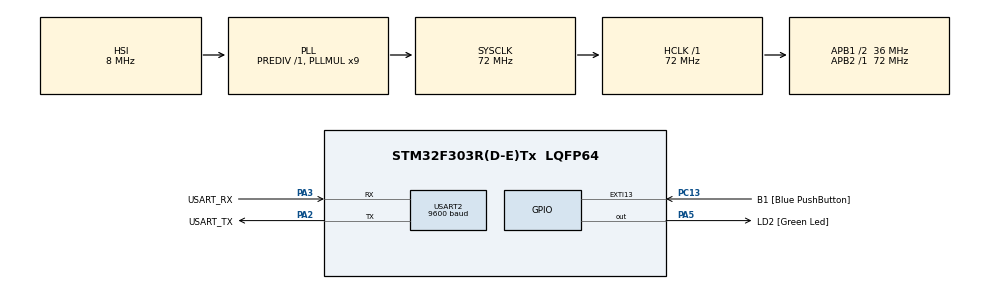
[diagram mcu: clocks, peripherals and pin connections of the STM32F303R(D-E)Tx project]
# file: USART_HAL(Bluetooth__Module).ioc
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Mcu.Family=STM32F3
Mcu.Name=STM32F303R(D-E)Tx
Mcu.Package=LQFP64
NVIC.PriorityGroup=NVIC_PRIORITYGROUP_0
PA13.GPIO_Label=TMS
PA13.Mode=Serial_Wire
PA13.Signal=SYS_JTMS-SWDIO
PA14.GPIO_Label=TCK
PA14.Mode=Serial_Wire
PA14.Signal=SYS_JTCK-SWCLK
PA2.GPIO_Label=USART_TX
PA2.GPIO_Mode=GPIO_MODE_AF_PP
PA2.GPIO_PuPd=GPIO_NOPULL
PA2.GPIO_Speed=GPIO_SPEED_FREQ_LOW
PA2.Mode=Asynchronous
PA2.Signal=USART2_TX
PA3.GPIO_Label=USART_RX
PA3.GPIO_Mode=GPIO_MODE_AF_PP
PA3.GPIO_PuPd=GPIO_NOPULL
PA3.GPIO_Speed=GPIO_SPEED_FREQ_LOW
PA3.Mode=Asynchronous
PA3.Signal=USART2_RX
PA5.GPIO_Label=LD2 [Green Led]
PA5.GPIO_Mode=GPIO_MODE_OUTPUT_PP
PA5.GPIO_PuPd=GPIO_NOPULL
PA5.GPIO_Speed=GPIO_SPEED_FREQ_LOW
PA5.Signal=GPIO_Output
PB3.GPIO_Label=SWO
PB3.Signal=SYS_JTDO-TRACESWO
PC13.GPIO_Label=B1 [Blue PushButton]
PC13.GPIO_ModeDefaultEXTI=GPIO_MODE_IT_FALLING
PC13.Signal=GPXTI13
PC14-OSC32_IN.Mode=LSE-External-Oscillator
PC14-OSC32_IN.Signal=RCC_OSC32_IN
PC15-OSC32_OUT.Mode=LSE-External-Oscillator
PC15-OSC32_OUT.Signal=RCC_OSC32_OUT
PF0-OSC_IN.Mode=HSE-External-Clock-Source
PF0-OSC_IN.Signal=RCC_OSC_IN
PF1-OSC_OUT.Signal=RCC_OSC_OUT
ProjectManager.HeapSize=0x200
ProjectManager.StackSize=0x400
ProjectManager.TargetToolchain=STM32CubeIDE
RCC.AHBFreq_Value=72000000
RCC.APB1CLKDivider=RCC_HCLK_DIV2
RCC.APB1Freq_Value=36000000
RCC.APB1TimFreq_Value=72000000
RCC.APB2Freq_Value=72000000
RCC.APB2TimFreq_Value=72000000
RCC.CortexFreq_Value=72000000
RCC.HCLKFreq_Value=72000000
RCC.HSE_VALUE=8000000
RCC.HSI_VALUE=8000000
RCC.PLLM=8
RCC.PLLMUL=RCC_PLL_MUL9
RCC.PLLN=336
RCC.PLLP=RCC_PLLP_DIV4
RCC.PLLQ=7
RCC.RCC_PLLsource_Clock_Source_FROM_HSE=RCC_HSE_PREDIV_DIV2
RCC.SYSCLKFreq_VALUE=72000000
RCC.SYSCLKSourceVirtual=RCC_SYSCLKSOURCE_PLLCLK
RCC.USBFreq_Value=72000000
USART2.BaudRate=9600
USART2.VirtualMode-Asynchronous=VM_ASYNC
board=NUCLEO-F303RE

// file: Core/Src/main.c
/* USER CODE BEGIN Header */
/**
  ******************************************************************************
  * @file           : main.c
  * @brief          : Main program body
  ******************************************************************************
  * @attention
  *
  * <h2><center>&copy; Copyright (c) 2020 STMicroelectronics.
  * All rights reserved.</center></h2>
  *
  * This software component is licensed by ST under BSD 3-Clause license,
  * the "License"; You may not use this file except in compliance with the
  * License. You may obtain a copy of the License at:
  *                        opensource.org/licenses/BSD-3-Clause
  *
  ******************************************************************************
  */
/* USER CODE END Header */
#include "main.h"

/* USER CODE BEGIN Includes */
#include <stdbool.h>
uint8_t rx_data[50],tx_buffer[50];
bool led_state = false;
/* USER CODE END Includes */

UART_HandleTypeDef huart2;

void SystemClock_Config(void);
static void MX_GPIO_Init(void);
static void MX_USART2_UART_Init(void);

int main(void)
{

  /* MCU Configuration--------------------------------------------------------*/

  /* Reset of all peripherals, Initializes the Flash interface and the Systick. */
  HAL_Init();

  /* Configure the system clock */
  SystemClock_Config();

  /* Initialize all configured peripherals */
  MX_GPIO_Init();
  MX_USART2_UART_Init();

  /* Infinite loop */
  while (1)
  {

    /* USER CODE BEGIN 3 */
		HAL_UART_Receive(&huart2, (uint8_t*)rx_data, 50, 500);
		if (rx_data[0] == 'o' && rx_data[1] == 'n')
		{
			HAL_GPIO_WritePin(GPIOA, GPIO_PIN_5, GPIO_PIN_SET);
			if (led_state != true) {
				HAL_UART_Transmit(&huart2, (uint8_t*) tx_buffer,sprintf(tx_buffer, "Led Yandi."), 500);
				led_state = true;
			}
		}

		else if (rx_data[0] == 'o' && rx_data[1] == 'f' && rx_data[2] == 'f') {
			HAL_GPIO_WritePin(GPIOA, GPIO_PIN_5, GPIO_PIN_RESET);
			HAL_Delay(10);
			if (led_state != false) {
				HAL_UART_Transmit(&huart2, (uint8_t*) tx_buffer,sprintf(tx_buffer, "Led Sondu."), 100);
				led_state = false;
			}
		}

  }
  /* USER CODE END 3 */
}

void SystemClock_Config(void)
{
  RCC_OscInitTypeDef RCC_OscInitStruct = {0};
  RCC_ClkInitTypeDef RCC_ClkInitStruct = {0};
  RCC_PeriphCLKInitTypeDef PeriphClkInit = {0};

  /** Initializes the RCC Oscillators according to the specified parameters
  * in the RCC_OscInitTypeDef structure.
  */
  RCC_OscInitStruct.OscillatorType = RCC_OSCILLATORTYPE_HSI;
  RCC_OscInitStruct.HSIState = RCC_HSI_ON;
  RCC_OscInitStruct.HSICalibrationValue = RCC_HSICALIBRATION_DEFAULT;
  RCC_OscInitStruct.PLL.PLLState = RCC_PLL_ON;
  RCC_OscInitStruct.PLL.PLLSource = RCC_PLLSOURCE_HSI;
  RCC_OscInitStruct.PLL.PLLMUL = RCC_PLL_MUL9;
  RCC_OscInitStruct.PLL.PREDIV = RCC_PREDIV_DIV1;
  if (HAL_RCC_OscConfig(&RCC_OscInitStruct) != HAL_OK)
  {
    Error_Handler();
  }
  /** Initializes the CPU, AHB and APB buses clocks
  */
  RCC_ClkInitStruct.ClockType = RCC_CLOCKTYPE_HCLK|RCC_CLOCKTYPE_SYSCLK
                              |RCC_CLOCKTYPE_PCLK1|RCC_CLOCKTYPE_PCLK2;
  RCC_ClkInitStruct.SYSCLKSource = RCC_SYSCLKSOURCE_PLLCLK;
  RCC_ClkInitStruct.AHBCLKDivider = RCC_SYSCLK_DIV1;
  RCC_ClkInitStruct.APB1CLKDivider = RCC_HCLK_DIV2;
  RCC_ClkInitStruct.APB2CLKDivider = RCC_HCLK_DIV1;

  if (HAL_RCC_ClockConfig(&RCC_ClkInitStruct, FLASH_LATENCY_2) != HAL_OK)
  {
    Error_Handler();
  }
  PeriphClkInit.PeriphClockSelection = RCC_PERIPHCLK_USART2;
  PeriphClkInit.Usart2ClockSelection = RCC_USART2CLKSOURCE_PCLK1;
  if (HAL_RCCEx_PeriphCLKConfig(&PeriphClkInit) != HAL_OK)
  {
    Error_Handler();
  }
}

static void MX_USART2_UART_Init(void)
{

  huart2.Instance = USART2;
  huart2.Init.BaudRate = 9600;
  huart2.Init.WordLength = UART_WORDLENGTH_8B;
  huart2.Init.StopBits = UART_STOPBITS_1;
  huart2.Init.Parity = UART_PARITY_NONE;
  huart2.Init.Mode = UART_MODE_TX_RX;
  huart2.Init.HwFlowCtl = UART_HWCONTROL_NONE;
  huart2.Init.OverSampling = UART_OVERSAMPLING_16;
  huart2.Init.OneBitSampling = UART_ONE_BIT_SAMPLE_DISABLE;
  huart2.AdvancedInit.AdvFeatureInit = UART_ADVFEATURE_NO_INIT;
  if (HAL_UART_Init(&huart2) != HAL_OK)
  {
    Error_Handler();
  }

}

static void MX_GPIO_Init(void)
{
  GPIO_InitTypeDef GPIO_InitStruct = {0};

  /* GPIO Ports Clock Enable */
  __HAL_RCC_GPIOC_CLK_ENABLE();
  __HAL_RCC_GPIOF_CLK_ENABLE();
  __HAL_RCC_GPIOA_CLK_ENABLE();
  __HAL_RCC_GPIOB_CLK_ENABLE();

  /*Configure GPIO pin Output Level */
  HAL_GPIO_WritePin(LD2_GPIO_Port, LD2_Pin, GPIO_PIN_RESET);

  /*Configure GPIO pin : B1_Pin */
  GPIO_InitStruct.Pin = B1_Pin;
  GPIO_InitStruct.Mode = GPIO_MODE_IT_FALLING;
  GPIO_InitStruct.Pull = GPIO_NOPULL;
  HAL_GPIO_Init(B1_GPIO_Port, &GPIO_InitStruct);

  /*Configure GPIO pin : LD2_Pin */
  GPIO_InitStruct.Pin = LD2_Pin;
  GPIO_InitStruct.Mode = GPIO_MODE_OUTPUT_PP;
  GPIO_InitStruct.Pull = GPIO_NOPULL;
  GPIO_InitStruct.Speed = GPIO_SPEED_FREQ_LOW;
  HAL_GPIO_Init(LD2_GPIO_Port, &GPIO_InitStruct);

}

void Error_Handler(void)
{
}

/************************ (C) COPYRIGHT STMicroelectronics *****END OF FILE****/
